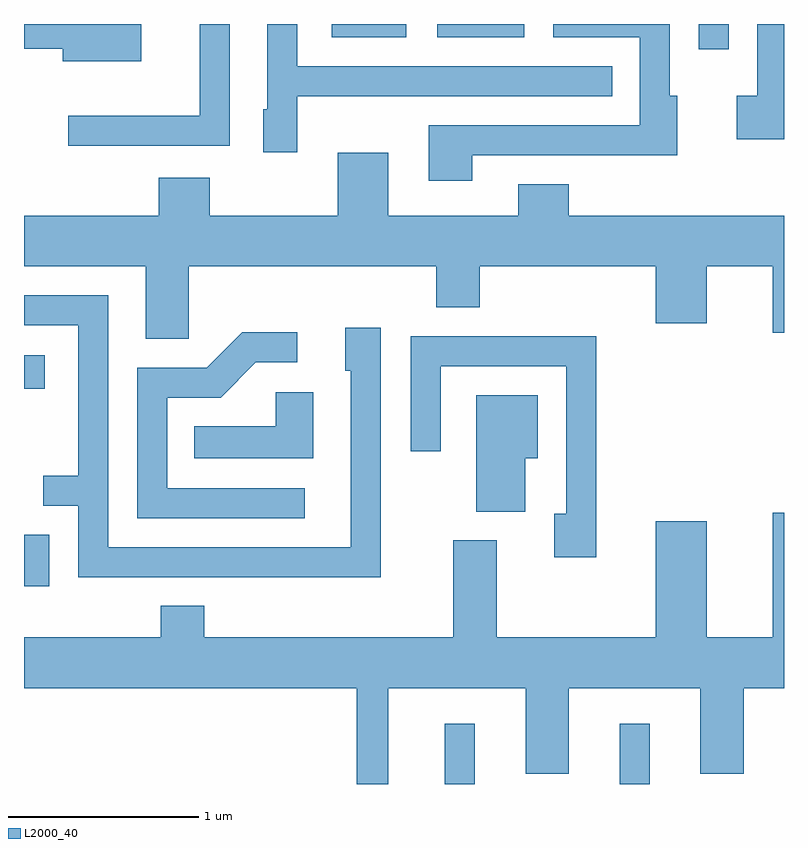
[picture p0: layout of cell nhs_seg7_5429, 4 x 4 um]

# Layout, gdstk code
import gdstk
lib = gdstk.Library(unit=1e-6, precision=1e-09)
def R(c, l, rs):  # rectangles x0, y0, x1, y1
    for r in rs: c.add(gdstk.rectangle(r[:2], r[2:], *l))
def P(c, l, *ps):  # polygons
    for p in ps: c.add(gdstk.Polygon(p, *l))
L2000_40 = (2000, 40)

nhs_seg7_5429 = lib.new_cell('nhs_seg7_5429')
R(nhs_seg7_5429, L2000_40, [(353.826,1718.252,353.984,1718.568), (354.746,1718.252,354.904,1718.568), (351.611,1719.293,351.744,1719.564), (351.611,1720.331,351.719,1720.509), (355.161,1722.118,355.319,1722.252), (353.231,1722.181,353.624,1722.252), (353.786,1722.181,354.244,1722.252)])
P(nhs_seg7_5429, L2000_40, [(352.229,1722.252),(351.611,1722.252),(351.611,1722.121),(351.816,1722.121),(351.816,1722.056),(352.229,1722.056)],
  [(353.049,1721.871),(354.708,1721.871),(354.708,1722.029),(353.049,1722.029),(353.049,1722.252),(352.891,1722.252),(352.891,1721.804),(352.871,1721.804),(352.871,1721.576),(353.049,1721.576)],
  [(353.969,1721.561),(355.049,1721.561),(355.049,1721.874),(355.009,1721.874),(355.009,1722.252),(354.396,1722.252),(354.396,1722.181),(354.851,1722.181),(354.851,1721.719),(353.741,1721.719),(353.741,1721.426),(353.969,1721.426)],
  [(355.611,1722.252),(355.471,1722.252),(355.471,1721.874),(355.361,1721.874),(355.361,1721.646),(355.611,1721.646)],
  [(352.694,1722.252),(352.536,1722.252),(352.536,1721.769),(351.843,1721.769),(351.843,1721.611),(352.694,1721.611)],
  [(352.479,1720.976),(353.781,1720.976),(353.781,1720.761),(354.009,1720.761),(354.009,1720.976),(354.936,1720.976),(354.936,1720.676),(355.204,1720.676),(355.204,1720.976),(355.551,1720.976),(355.551,1720.626),(355.611,1720.626),(355.611,1721.244),(354.479,1721.244),(354.479,1721.409),(354.211,1721.409),(354.211,1721.244),(353.529,1721.244),(353.529,1721.574),(353.261,1721.574),(353.261,1721.244),(352.589,1721.244),(352.589,1721.444),(352.321,1721.444),(352.321,1721.244),(351.611,1721.244),(351.611,1720.976),(352.251,1720.976),(352.251,1720.596),(352.479,1720.596)],
  [(353.489,1720.654),(353.301,1720.654),(353.301,1720.426),(353.331,1720.426),(353.331,1719.499),(352.054,1719.499),(352.054,1720.824),(351.611,1720.824),(351.611,1720.666),(351.896,1720.666),(351.896,1719.874),(351.713,1719.874),(351.713,1719.716),(351.896,1719.716),(351.896,1719.341),(353.489,1719.341)],
  [(353.088,1719.809),(352.364,1719.809),(352.364,1720.286),(352.647,1720.286),(352.832,1720.471),(353.048,1720.471),(353.048,1720.629),(352.759,1720.629),(352.574,1720.444),(352.206,1720.444),(352.206,1719.651),(353.088,1719.651)],
  [(354.624,1720.609),(353.646,1720.609),(353.646,1720.003),(353.804,1720.003),(353.804,1720.451),(354.466,1720.451),(354.466,1719.674),(354.401,1719.674),(354.401,1719.446),(354.624,1719.446)],
  [(353.134,1720.314),(352.936,1720.314),(352.936,1720.134),(352.508,1720.134),(352.508,1719.966),(353.134,1719.966)],
  [(354.249,1719.966),(354.314,1719.966),(354.314,1720.299),(353.991,1720.299),(353.991,1719.686),(354.249,1719.686)],
  [(353.529,1718.756),(354.251,1718.756),(354.251,1718.306),(354.479,1718.306),(354.479,1718.756),(355.171,1718.756),(355.171,1718.306),(355.399,1718.306),(355.399,1718.756),(355.611,1718.756),(355.611,1719.679),(355.551,1719.679),(355.551,1719.024),(355.204,1719.024),(355.204,1719.634),(354.936,1719.634),(354.936,1719.024),(354.099,1719.024),(354.099,1719.534),(353.871,1719.534),(353.871,1719.024),(352.559,1719.024),(352.559,1719.189),(352.331,1719.189),(352.331,1719.024),(351.611,1719.024),(351.611,1718.756),(353.361,1718.756),(353.361,1718.252),(353.529,1718.252)])

lib.write_gds('nhs_seg7_5429.gds')
